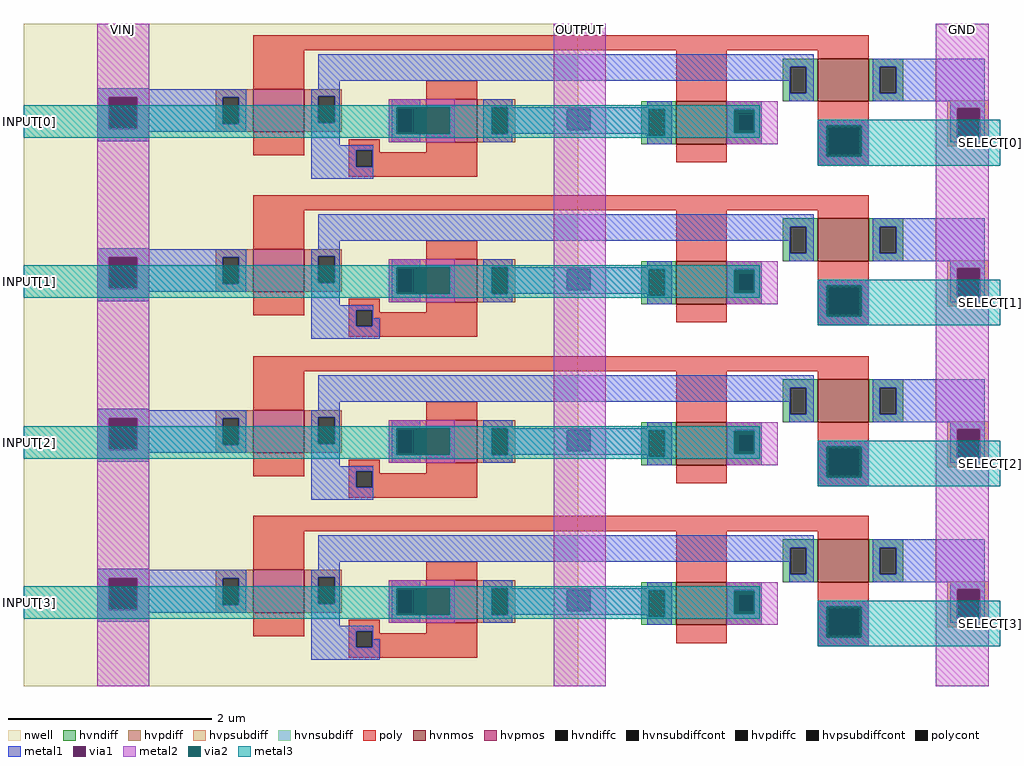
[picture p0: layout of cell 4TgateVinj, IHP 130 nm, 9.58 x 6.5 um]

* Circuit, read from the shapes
.subckt 4TgateVinj VINJ INPUT[0] INPUT[1] INPUT[2] INPUT[3] OUTPUT GND SELECT[0] SELECT[1] SELECT[2] SELECT[3]
XM1 INPUT[3] SELECT[3] OUTPUT GND sg13_hv_nmos w=0.42u l=0.5u
XM2 INPUT[2] SELECT[2] OUTPUT GND sg13_hv_nmos w=0.42u l=0.5u
XM3 INPUT[1] SELECT[1] OUTPUT GND sg13_hv_nmos w=0.42u l=0.5u
XM4 INPUT[0] SELECT[0] OUTPUT GND sg13_hv_nmos w=0.42u l=0.5u
XM5 GND SELECT[3] n1 GND sg13_hv_nmos w=0.42u l=0.5u
XM6 GND SELECT[2] n2 GND sg13_hv_nmos w=0.42u l=0.5u
XM7 GND SELECT[1] n3 GND sg13_hv_nmos w=0.42u l=0.5u
XM8 GND SELECT[0] n4 GND sg13_hv_nmos w=0.42u l=0.5u
XM9 n1 SELECT[3] VINJ VINJ sg13_hv_pmos w=0.42u l=0.5u
XM10 n2 SELECT[2] VINJ VINJ sg13_hv_pmos w=0.42u l=0.5u
XM11 n3 SELECT[1] VINJ VINJ sg13_hv_pmos w=0.42u l=0.5u
XM12 n4 SELECT[0] VINJ VINJ sg13_hv_pmos w=0.42u l=0.5u
XM13 OUTPUT n1 INPUT[3] VINJ sg13_hv_pmos w=0.42u l=0.5u
XM14 OUTPUT n2 INPUT[2] VINJ sg13_hv_pmos w=0.42u l=0.5u
XM15 OUTPUT n3 INPUT[1] VINJ sg13_hv_pmos w=0.42u l=0.5u
XM16 OUTPUT n4 INPUT[0] VINJ sg13_hv_pmos w=0.42u l=0.5u
.ends

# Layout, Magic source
magic
tech ihp-sg13g2
<< nwell >>
rect 0 -472 544 178
<< hvnmos >>
rect 779 102 829 144
rect 640 60 690 102
rect 779 -55 829 -13
rect 640 -97 690 -55
rect 779 -213 829 -171
rect 640 -255 690 -213
rect 779 -370 829 -328
rect 640 -412 690 -370
<< hvpmos >>
rect 225 72 275 114
rect 395 62 445 104
rect 225 -85 275 -43
rect 395 -95 445 -53
rect 225 -243 275 -201
rect 395 -253 445 -211
rect 225 -400 275 -358
rect 395 -410 445 -368
<< hvndiff >>
rect 745 136 779 144
rect 745 110 752 136
rect 768 110 779 136
rect 745 102 779 110
rect 829 136 863 144
rect 829 110 840 136
rect 856 110 863 136
rect 829 102 863 110
rect 606 94 640 102
rect 606 68 613 94
rect 629 68 640 94
rect 606 60 640 68
rect 690 90 724 102
rect 690 72 701 90
rect 717 72 724 90
rect 690 60 724 72
rect 745 -21 779 -13
rect 745 -47 752 -21
rect 768 -47 779 -21
rect 745 -55 779 -47
rect 829 -21 863 -13
rect 829 -47 840 -21
rect 856 -47 863 -21
rect 829 -55 863 -47
rect 606 -63 640 -55
rect 606 -89 613 -63
rect 629 -89 640 -63
rect 606 -97 640 -89
rect 690 -67 724 -55
rect 690 -85 701 -67
rect 717 -85 724 -67
rect 690 -97 724 -85
rect 745 -179 779 -171
rect 745 -205 752 -179
rect 768 -205 779 -179
rect 745 -213 779 -205
rect 829 -179 863 -171
rect 829 -205 840 -179
rect 856 -205 863 -179
rect 829 -213 863 -205
rect 606 -221 640 -213
rect 606 -247 613 -221
rect 629 -247 640 -221
rect 606 -255 640 -247
rect 690 -225 724 -213
rect 690 -243 701 -225
rect 717 -243 724 -225
rect 690 -255 724 -243
rect 745 -336 779 -328
rect 745 -362 752 -336
rect 768 -362 779 -336
rect 745 -370 779 -362
rect 829 -336 863 -328
rect 829 -362 840 -336
rect 856 -362 863 -336
rect 829 -370 863 -362
rect 606 -378 640 -370
rect 606 -404 613 -378
rect 629 -404 640 -378
rect 606 -412 640 -404
rect 690 -382 724 -370
rect 690 -400 701 -382
rect 717 -400 724 -382
rect 690 -412 724 -400
<< hvpdiff >>
rect 188 106 225 114
rect 188 80 195 106
rect 211 80 225 106
rect 188 72 225 80
rect 275 107 312 114
rect 275 81 289 107
rect 305 81 312 107
rect 275 72 312 81
rect 358 96 395 104
rect 358 70 366 96
rect 382 70 395 96
rect 358 62 395 70
rect 445 96 482 104
rect 445 70 459 96
rect 475 70 482 96
rect 445 62 482 70
rect 188 -51 225 -43
rect 188 -77 195 -51
rect 211 -77 225 -51
rect 188 -85 225 -77
rect 275 -50 312 -43
rect 275 -76 289 -50
rect 305 -76 312 -50
rect 275 -85 312 -76
rect 358 -61 395 -53
rect 358 -87 366 -61
rect 382 -87 395 -61
rect 358 -95 395 -87
rect 445 -61 482 -53
rect 445 -87 459 -61
rect 475 -87 482 -61
rect 445 -95 482 -87
rect 188 -209 225 -201
rect 188 -235 195 -209
rect 211 -235 225 -209
rect 188 -243 225 -235
rect 275 -208 312 -201
rect 275 -234 289 -208
rect 305 -234 312 -208
rect 275 -243 312 -234
rect 358 -219 395 -211
rect 358 -245 366 -219
rect 382 -245 395 -219
rect 358 -253 395 -245
rect 445 -219 482 -211
rect 445 -245 459 -219
rect 475 -245 482 -219
rect 445 -253 482 -245
rect 188 -366 225 -358
rect 188 -392 195 -366
rect 211 -392 225 -366
rect 188 -400 225 -392
rect 275 -365 312 -358
rect 275 -391 289 -365
rect 305 -391 312 -365
rect 275 -400 312 -391
rect 358 -376 395 -368
rect 358 -402 366 -376
rect 382 -402 395 -376
rect 358 -410 395 -402
rect 445 -376 482 -368
rect 445 -402 459 -376
rect 475 -402 482 -376
rect 445 -410 482 -402
<< hvndiffc >>
rect 752 110 768 136
rect 840 110 856 136
rect 613 68 629 94
rect 701 72 717 90
rect 752 -47 768 -21
rect 840 -47 856 -21
rect 613 -89 629 -63
rect 701 -85 717 -67
rect 752 -205 768 -179
rect 840 -205 856 -179
rect 613 -247 629 -221
rect 701 -243 717 -225
rect 752 -362 768 -336
rect 840 -362 856 -336
rect 613 -404 629 -378
rect 701 -400 717 -382
<< hvpdiffc >>
rect 195 80 211 106
rect 289 81 305 107
rect 366 70 382 96
rect 459 70 475 96
rect 195 -77 211 -51
rect 289 -76 305 -50
rect 366 -87 382 -61
rect 459 -87 475 -61
rect 195 -235 211 -209
rect 289 -234 305 -208
rect 366 -245 382 -219
rect 459 -245 475 -219
rect 195 -392 211 -366
rect 289 -391 305 -365
rect 366 -402 382 -376
rect 459 -402 475 -376
<< hvpsubdiff >>
rect 906 94 947 103
rect 906 66 916 94
rect 937 66 947 94
rect 906 58 947 66
rect 906 -63 947 -54
rect 906 -91 916 -63
rect 937 -91 947 -63
rect 906 -99 947 -91
rect 906 -221 947 -212
rect 906 -249 916 -221
rect 937 -249 947 -221
rect 906 -257 947 -249
rect 906 -378 947 -369
rect 906 -406 916 -378
rect 937 -406 947 -378
rect 906 -414 947 -406
<< hvnsubdiff >>
rect 72 106 123 115
rect 72 75 83 106
rect 111 75 123 106
rect 72 63 123 75
rect 72 -51 123 -42
rect 72 -82 83 -51
rect 111 -82 123 -51
rect 72 -94 123 -82
rect 72 -209 123 -200
rect 72 -240 83 -209
rect 111 -240 123 -209
rect 72 -252 123 -240
rect 72 -366 123 -357
rect 72 -397 83 -366
rect 111 -397 123 -366
rect 72 -409 123 -397
<< hvpsubdiffcont >>
rect 916 66 937 94
rect 916 -91 937 -63
rect 916 -249 937 -221
rect 916 -406 937 -378
<< hvnsubdiffcont >>
rect 83 75 111 106
rect 83 -82 111 -51
rect 83 -240 111 -209
rect 83 -397 111 -366
<< poly >>
rect 225 152 829 167
rect 225 114 275 152
rect 395 104 445 122
rect 225 49 275 72
rect 319 54 349 65
rect 640 102 690 152
rect 779 144 829 152
rect 319 38 326 54
rect 342 52 349 54
rect 395 52 445 62
rect 779 78 829 102
rect 342 38 445 52
rect 640 42 690 60
rect 779 48 788 78
rect 822 48 829 78
rect 779 39 829 48
rect 319 28 445 38
rect 225 -5 829 10
rect 225 -43 275 -5
rect 395 -53 445 -35
rect 225 -108 275 -85
rect 319 -103 349 -92
rect 640 -55 690 -5
rect 779 -13 829 -5
rect 319 -119 326 -103
rect 342 -105 349 -103
rect 395 -105 445 -95
rect 779 -79 829 -55
rect 342 -119 445 -105
rect 640 -115 690 -97
rect 779 -109 788 -79
rect 822 -109 829 -79
rect 779 -118 829 -109
rect 319 -129 445 -119
rect 225 -163 829 -148
rect 225 -201 275 -163
rect 395 -211 445 -193
rect 225 -266 275 -243
rect 319 -261 349 -250
rect 640 -213 690 -163
rect 779 -171 829 -163
rect 319 -277 326 -261
rect 342 -263 349 -261
rect 395 -263 445 -253
rect 779 -237 829 -213
rect 342 -277 445 -263
rect 640 -273 690 -255
rect 779 -267 788 -237
rect 822 -267 829 -237
rect 779 -276 829 -267
rect 319 -287 445 -277
rect 225 -320 829 -305
rect 225 -358 275 -320
rect 395 -368 445 -350
rect 225 -423 275 -400
rect 319 -418 349 -407
rect 640 -370 690 -320
rect 779 -328 829 -320
rect 319 -434 326 -418
rect 342 -420 349 -418
rect 395 -420 445 -410
rect 779 -394 829 -370
rect 342 -434 445 -420
rect 640 -430 690 -412
rect 779 -424 788 -394
rect 822 -424 829 -394
rect 779 -433 829 -424
rect 319 -444 445 -434
<< polycont >>
rect 326 38 342 54
rect 788 48 822 78
rect 326 -119 342 -103
rect 788 -109 822 -79
rect 326 -277 342 -261
rect 788 -267 822 -237
rect 326 -434 342 -418
rect 788 -424 822 -394
<< metal1 >>
rect 289 136 775 148
rect 289 122 752 136
rect 72 114 123 115
rect 289 114 310 122
rect 72 106 218 114
rect 72 75 83 106
rect 111 80 195 106
rect 211 80 218 106
rect 111 75 218 80
rect 72 72 218 75
rect 282 107 310 114
rect 282 81 289 107
rect 305 81 310 107
rect 751 110 752 122
rect 768 110 775 136
rect 72 63 123 72
rect 282 59 310 81
rect 361 96 389 104
rect 361 70 366 96
rect 386 70 389 96
rect 361 62 389 70
rect 451 96 479 104
rect 751 102 775 110
rect 833 136 943 144
rect 833 110 840 136
rect 856 110 943 136
rect 833 102 943 110
rect 612 96 636 102
rect 451 70 459 96
rect 475 94 636 96
rect 475 74 533 94
rect 556 74 613 94
rect 475 70 613 74
rect 451 62 479 70
rect 612 68 613 70
rect 629 68 636 94
rect 612 60 636 68
rect 690 94 724 102
rect 690 72 697 94
rect 717 72 724 94
rect 909 95 943 102
rect 690 60 724 72
rect 779 78 829 84
rect 282 54 343 59
rect 282 38 326 54
rect 342 38 343 54
rect 779 48 788 78
rect 822 48 829 78
rect 909 66 916 95
rect 938 66 943 95
rect 909 62 943 66
rect 779 39 829 48
rect 282 26 343 38
rect 289 -21 775 -9
rect 289 -35 752 -21
rect 72 -43 123 -42
rect 289 -43 310 -35
rect 72 -51 218 -43
rect 72 -82 83 -51
rect 111 -77 195 -51
rect 211 -77 218 -51
rect 111 -82 218 -77
rect 72 -85 218 -82
rect 282 -50 310 -43
rect 282 -76 289 -50
rect 305 -76 310 -50
rect 751 -47 752 -35
rect 768 -47 775 -21
rect 72 -94 123 -85
rect 282 -98 310 -76
rect 361 -61 389 -53
rect 361 -87 366 -61
rect 386 -87 389 -61
rect 361 -95 389 -87
rect 451 -61 479 -53
rect 751 -55 775 -47
rect 833 -21 943 -13
rect 833 -47 840 -21
rect 856 -47 943 -21
rect 833 -55 943 -47
rect 612 -61 636 -55
rect 451 -87 459 -61
rect 475 -63 636 -61
rect 475 -83 533 -63
rect 556 -83 613 -63
rect 475 -87 613 -83
rect 451 -95 479 -87
rect 612 -89 613 -87
rect 629 -89 636 -63
rect 612 -97 636 -89
rect 690 -63 724 -55
rect 690 -85 697 -63
rect 717 -85 724 -63
rect 909 -62 943 -55
rect 690 -97 724 -85
rect 779 -79 829 -73
rect 282 -103 343 -98
rect 282 -119 326 -103
rect 342 -111 343 -103
rect 779 -109 788 -79
rect 822 -109 829 -79
rect 909 -91 916 -62
rect 938 -91 943 -62
rect 909 -95 943 -91
rect 342 -119 349 -111
rect 779 -118 829 -109
rect 282 -131 349 -119
rect 289 -179 775 -167
rect 289 -193 752 -179
rect 72 -201 123 -200
rect 289 -201 310 -193
rect 72 -209 218 -201
rect 72 -240 83 -209
rect 111 -235 195 -209
rect 211 -235 218 -209
rect 111 -240 218 -235
rect 72 -243 218 -240
rect 282 -208 310 -201
rect 282 -234 289 -208
rect 305 -234 310 -208
rect 751 -205 752 -193
rect 768 -205 775 -179
rect 72 -252 123 -243
rect 282 -256 310 -234
rect 361 -219 389 -211
rect 361 -245 366 -219
rect 386 -245 389 -219
rect 361 -253 389 -245
rect 451 -219 479 -211
rect 751 -213 775 -205
rect 833 -179 943 -171
rect 833 -205 840 -179
rect 856 -205 943 -179
rect 833 -213 943 -205
rect 612 -219 636 -213
rect 451 -245 459 -219
rect 475 -221 636 -219
rect 475 -241 533 -221
rect 556 -241 613 -221
rect 475 -245 613 -241
rect 451 -253 479 -245
rect 612 -247 613 -245
rect 629 -247 636 -221
rect 612 -255 636 -247
rect 690 -221 724 -213
rect 690 -243 697 -221
rect 717 -243 724 -221
rect 909 -220 943 -213
rect 690 -255 724 -243
rect 779 -237 829 -231
rect 282 -261 343 -256
rect 282 -277 326 -261
rect 342 -277 343 -261
rect 779 -267 788 -237
rect 822 -267 829 -237
rect 909 -249 916 -220
rect 938 -249 943 -220
rect 909 -253 943 -249
rect 779 -276 829 -267
rect 282 -289 343 -277
rect 289 -336 775 -324
rect 289 -350 752 -336
rect 72 -358 123 -357
rect 289 -358 310 -350
rect 72 -366 218 -358
rect 72 -397 83 -366
rect 111 -392 195 -366
rect 211 -392 218 -366
rect 111 -397 218 -392
rect 72 -400 218 -397
rect 282 -365 310 -358
rect 282 -391 289 -365
rect 305 -391 310 -365
rect 751 -362 752 -350
rect 768 -362 775 -336
rect 72 -409 123 -400
rect 282 -413 310 -391
rect 361 -376 389 -368
rect 361 -402 366 -376
rect 386 -402 389 -376
rect 361 -410 389 -402
rect 451 -376 479 -368
rect 751 -370 775 -362
rect 833 -336 943 -328
rect 833 -362 840 -336
rect 856 -362 943 -336
rect 833 -370 943 -362
rect 612 -376 636 -370
rect 451 -402 459 -376
rect 475 -378 636 -376
rect 475 -398 533 -378
rect 556 -398 613 -378
rect 475 -402 613 -398
rect 451 -410 479 -402
rect 612 -404 613 -402
rect 629 -404 636 -378
rect 612 -412 636 -404
rect 690 -378 724 -370
rect 690 -400 697 -378
rect 717 -400 724 -378
rect 909 -377 943 -370
rect 690 -412 724 -400
rect 779 -394 829 -388
rect 282 -418 343 -413
rect 282 -434 326 -418
rect 342 -426 343 -418
rect 779 -424 788 -394
rect 822 -424 829 -394
rect 909 -406 916 -377
rect 938 -406 943 -377
rect 909 -410 943 -406
rect 342 -434 349 -426
rect 779 -433 829 -424
rect 282 -446 349 -434
<< via1 >>
rect 83 75 111 106
rect 366 70 382 96
rect 382 70 386 96
rect 533 74 556 94
rect 697 90 717 94
rect 697 72 701 90
rect 701 72 717 90
rect 788 48 822 78
rect 916 94 938 95
rect 916 66 937 94
rect 937 66 938 94
rect 83 -82 111 -51
rect 366 -87 382 -61
rect 382 -87 386 -61
rect 533 -83 556 -63
rect 697 -67 717 -63
rect 697 -85 701 -67
rect 701 -85 717 -67
rect 788 -109 822 -79
rect 916 -63 938 -62
rect 916 -91 937 -63
rect 937 -91 938 -63
rect 83 -240 111 -209
rect 366 -245 382 -219
rect 382 -245 386 -219
rect 533 -241 556 -221
rect 697 -225 717 -221
rect 697 -243 701 -225
rect 701 -243 717 -225
rect 788 -267 822 -237
rect 916 -221 938 -220
rect 916 -249 937 -221
rect 937 -249 938 -221
rect 83 -397 111 -366
rect 366 -402 382 -376
rect 382 -402 386 -376
rect 533 -398 556 -378
rect 697 -382 717 -378
rect 697 -400 701 -382
rect 701 -400 717 -382
rect 788 -424 822 -394
rect 916 -378 938 -377
rect 916 -406 937 -378
rect 937 -406 938 -378
<< metal2 >>
rect 72 106 123 178
rect 72 75 83 106
rect 111 75 123 106
rect 72 -51 123 75
rect 358 96 423 104
rect 358 70 366 96
rect 418 70 423 96
rect 358 62 423 70
rect 520 94 571 178
rect 520 74 533 94
rect 556 74 571 94
rect 72 -82 83 -51
rect 111 -82 123 -51
rect 72 -209 123 -82
rect 358 -61 423 -53
rect 358 -87 366 -61
rect 418 -87 423 -61
rect 358 -95 423 -87
rect 520 -63 571 74
rect 690 94 740 102
rect 690 71 697 94
rect 717 71 740 94
rect 895 95 947 178
rect 690 60 740 71
rect 779 78 829 84
rect 779 48 788 78
rect 822 48 829 78
rect 779 39 829 48
rect 895 66 916 95
rect 938 66 947 95
rect 520 -83 533 -63
rect 556 -83 571 -63
rect 72 -240 83 -209
rect 111 -240 123 -209
rect 72 -366 123 -240
rect 358 -219 423 -211
rect 358 -245 366 -219
rect 418 -245 423 -219
rect 358 -253 423 -245
rect 520 -221 571 -83
rect 690 -63 740 -55
rect 690 -86 697 -63
rect 717 -86 740 -63
rect 895 -62 947 66
rect 690 -97 740 -86
rect 779 -79 829 -73
rect 779 -109 788 -79
rect 822 -109 829 -79
rect 779 -118 829 -109
rect 895 -91 916 -62
rect 938 -91 947 -62
rect 520 -241 533 -221
rect 556 -241 571 -221
rect 72 -397 83 -366
rect 111 -397 123 -366
rect 72 -472 123 -397
rect 358 -376 423 -368
rect 358 -402 366 -376
rect 418 -402 423 -376
rect 358 -410 423 -402
rect 520 -378 571 -241
rect 690 -221 740 -213
rect 690 -244 697 -221
rect 717 -244 740 -221
rect 895 -220 947 -91
rect 690 -255 740 -244
rect 779 -237 829 -231
rect 779 -267 788 -237
rect 822 -267 829 -237
rect 779 -276 829 -267
rect 895 -249 916 -220
rect 938 -249 947 -220
rect 520 -398 533 -378
rect 556 -398 571 -378
rect 520 -472 571 -398
rect 690 -378 740 -370
rect 690 -401 697 -378
rect 717 -401 740 -378
rect 895 -377 947 -249
rect 690 -412 740 -401
rect 779 -394 829 -388
rect 779 -424 788 -394
rect 822 -424 829 -394
rect 779 -433 829 -424
rect 895 -406 916 -377
rect 938 -406 947 -377
rect 895 -472 947 -406
<< via2 >>
rect 366 70 386 96
rect 386 70 418 96
rect 366 -87 386 -61
rect 386 -87 418 -61
rect 697 72 717 93
rect 697 71 717 72
rect 788 48 822 78
rect 366 -245 386 -219
rect 386 -245 418 -219
rect 697 -85 717 -64
rect 697 -86 717 -85
rect 788 -109 822 -79
rect 366 -402 386 -376
rect 386 -402 418 -376
rect 697 -243 717 -222
rect 697 -244 717 -243
rect 788 -267 822 -237
rect 697 -400 717 -379
rect 697 -401 717 -400
rect 788 -424 822 -394
<< metal3 >>
rect 0 96 722 98
rect 0 70 366 96
rect 418 93 722 96
rect 418 71 697 93
rect 717 71 722 93
rect 418 70 722 71
rect 0 66 722 70
rect 779 78 958 84
rect 779 48 788 78
rect 822 48 958 78
rect 779 39 958 48
rect 0 -61 722 -59
rect 0 -87 366 -61
rect 418 -64 722 -61
rect 418 -86 697 -64
rect 717 -86 722 -64
rect 418 -87 722 -86
rect 0 -91 722 -87
rect 779 -79 958 -73
rect 779 -109 788 -79
rect 822 -109 958 -79
rect 779 -118 958 -109
rect 0 -219 722 -217
rect 0 -245 366 -219
rect 418 -222 722 -219
rect 418 -244 697 -222
rect 717 -244 722 -222
rect 418 -245 722 -244
rect 0 -249 722 -245
rect 779 -237 958 -231
rect 779 -267 788 -237
rect 822 -267 958 -237
rect 779 -276 958 -267
rect 0 -376 722 -374
rect 0 -402 366 -376
rect 418 -379 722 -376
rect 418 -401 697 -379
rect 717 -401 722 -379
rect 418 -402 722 -401
rect 0 -406 722 -402
rect 779 -394 958 -388
rect 779 -424 788 -394
rect 822 -424 958 -394
rect 779 -433 958 -424
<< labels >>
flabel metal2 72 167 123 178 1 FreeSans 40 0 0 0 VINJ
port 1 n
flabel metal3 0 66 10 98 1 FreeSans 40 90 0 0 INPUT[0]
port 2 n
flabel metal3 0 -91 10 -59 1 FreeSans 40 90 0 0 INPUT[1]
port 3 n
flabel metal3 0 -249 10 -217 1 FreeSans 40 90 0 0 INPUT[2]
port 4 n
flabel metal3 0 -406 10 -374 1 FreeSans 40 90 0 0 INPUT[3]
port 5 n
flabel metal2 520 167 571 178 1 FreeSans 40 0 0 0 OUTPUT
port 6 n
flabel metal2 895 167 947 178 1 FreeSans 40 0 0 0 GND
port 7 n
flabel metal3 947 39 958 84 1 FreeSans 40 90 0 0 SELECT[0]
port 8 n
flabel metal3 947 -118 958 -73 1 FreeSans 40 90 0 0 SELECT[1]
port 9 n
flabel metal3 947 -276 958 -231 1 FreeSans 40 90 0 0 SELECT[2]
port 10 n
flabel metal3 947 -433 958 -388 1 FreeSans 40 90 0 0 SELECT[3]
port 11 n
<< end >>
